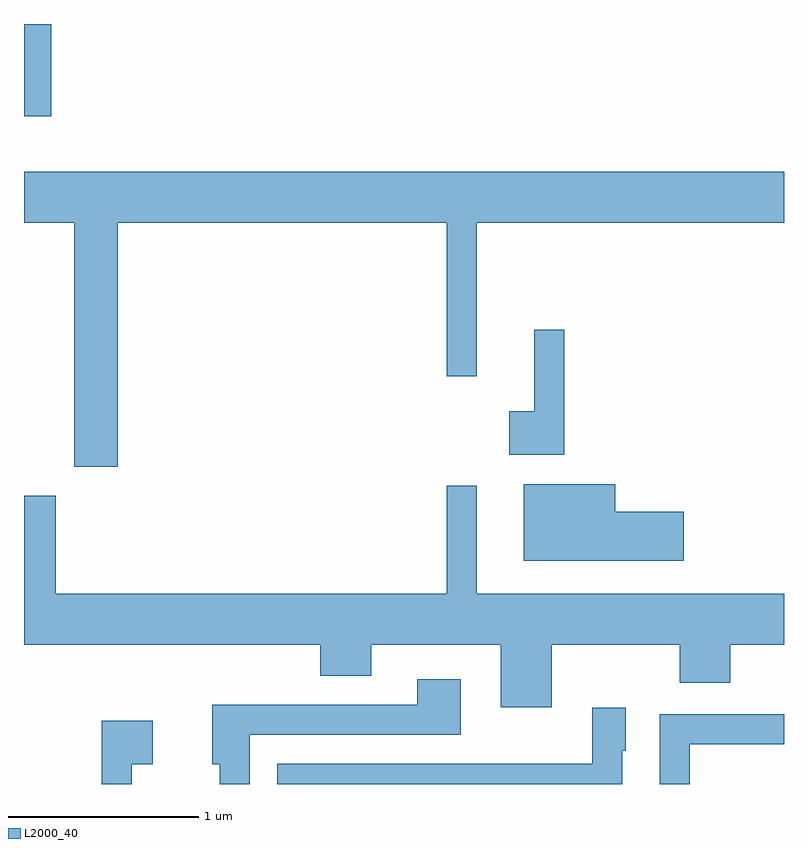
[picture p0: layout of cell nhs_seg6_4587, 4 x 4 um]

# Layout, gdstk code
import gdstk
lib = gdstk.Library(unit=1e-6, precision=1e-09)
def R(c, l, rs):  # rectangles x0, y0, x1, y1
    for r in rs: c.add(gdstk.rectangle(r[:2], r[2:], *l))
def P(c, l, *ps):  # polygons
    for p in ps: c.add(gdstk.Polygon(p, *l))
L2000_40 = (2000, 40)

nhs_seg6_4587 = lib.new_cell('nhs_seg6_4587')
R(nhs_seg6_4587, L2000_40, [(325.611,1581.676,325.754,1582.162)])
P(nhs_seg6_4587, L2000_40, [(326.104,1581.116),(327.836,1581.116),(327.836,1580.308),(327.994,1580.308),(327.994,1581.116),(329.611,1581.116),(329.611,1581.384),(325.611,1581.384),(325.611,1581.116),(325.876,1581.116),(325.876,1579.831),(326.104,1579.831)],
  [(328.454,1580.553),(328.296,1580.553),(328.296,1580.124),(328.166,1580.124),(328.166,1579.896),(328.454,1579.896)],
  [(329.084,1579.594),(328.724,1579.594),(328.724,1579.739),(328.241,1579.739),(328.241,1579.336),(329.084,1579.336)],
  [(328.389,1578.896),(329.061,1578.896),(329.061,1578.696),(329.329,1578.696),(329.329,1578.896),(329.611,1578.896),(329.611,1579.164),(327.994,1579.164),(327.994,1579.733),(327.836,1579.733),(327.836,1579.164),(325.779,1579.164),(325.779,1579.679),(325.611,1579.679),(325.611,1578.896),(327.171,1578.896),(327.171,1578.731),(327.439,1578.731),(327.439,1578.896),(328.121,1578.896),(328.121,1578.566),(328.389,1578.566)],
  [(326.799,1578.421),(327.909,1578.421),(327.909,1578.714),(327.681,1578.714),(327.681,1578.579),(326.601,1578.579),(326.601,1578.266),(326.641,1578.266),(326.641,1578.162),(326.799,1578.162)],
  [(328.759,1578.336),(328.779,1578.336),(328.779,1578.564),(328.601,1578.564),(328.601,1578.269),(326.943,1578.269),(326.943,1578.162),(328.759,1578.162)],
  [(329.114,1578.371),(329.611,1578.371),(329.611,1578.529),(328.956,1578.529),(328.956,1578.162),(329.114,1578.162)],
  [(326.179,1578.266),(326.289,1578.266),(326.289,1578.494),(326.021,1578.494),(326.021,1578.162),(326.179,1578.162)])

lib.write_gds('nhs_seg6_4587.gds')
